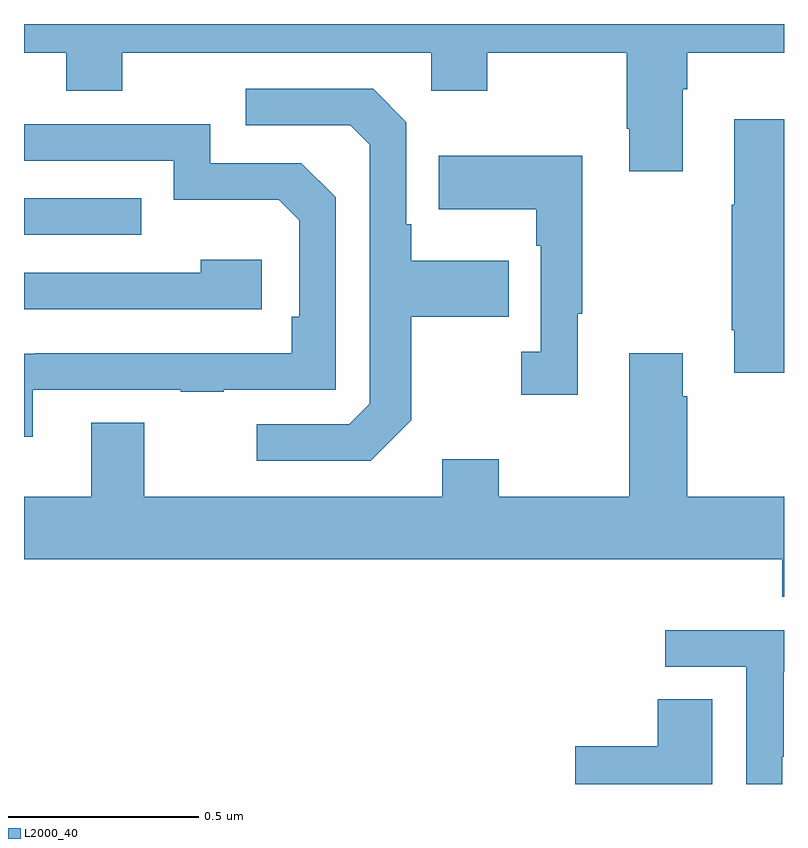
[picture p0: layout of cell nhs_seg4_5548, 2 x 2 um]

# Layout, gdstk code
import gdstk
lib = gdstk.Library(unit=1e-6, precision=1e-09)
def R(c, l, rs):  # rectangles x0, y0, x1, y1
    for r in rs: c.add(gdstk.rectangle(r[:2], r[2:], *l))
def P(c, l, *ps):  # polygons
    for p in ps: c.add(gdstk.Polygon(p, *l))
L2000_40 = (2000, 40)

nhs_seg4_5548 = lib.new_cell('nhs_seg4_5548')
R(nhs_seg4_5548, L2000_40, [(179,792.345,179.309,792.441)])
P(nhs_seg4_5548, L2000_40, [(179,792.824),(179.111,792.824),(179.111,792.725),(179.259,792.725),(179.259,792.824),(180.072,792.824),(180.072,792.725),(180.219,792.725),(180.219,792.824),(180.586,792.824),(180.586,792.625),(180.593,792.625),(180.593,792.513),(180.733,792.513),(180.733,792.728),(180.746,792.728),(180.746,792.824),(181,792.824),(181,792.9),(179,792.9)],
  [(180.019,791.857),(180.019,792.13),(180.275,792.13),(180.275,792.277),(180.019,792.277),(180.019,792.373),(180.006,792.373),(180.006,792.642),(179.919,792.729),(179.583,792.729),(179.583,792.633),(179.859,792.633),(179.91,792.582),(179.91,791.901),(179.856,791.847),(179.613,791.847),(179.613,791.751),(179.913,791.751)],
  [(181,792.649),(180.869,792.649),(180.869,792.425),(180.862,792.425),(180.862,792.094),(180.869,792.094),(180.869,791.982),(181,791.982)],
  [(179.023,791.937),(179.413,791.937),(179.413,791.932),(179.525,791.932),(179.525,791.937),(179.82,791.937),(179.82,792.444),(179.73,792.534),(179.49,792.534),(179.49,792.636),(179,792.636),(179,792.54),(179.394,792.54),(179.394,792.437),(179.671,792.437),(179.724,792.384),(179.724,792.13),(179.704,792.13),(179.704,792.033),(179.029,792.033),(179.029,792.032),(179,792.032),(179,791.814),(179.023,791.814)],
  [(180.457,792.137),(180.469,792.137),(180.469,792.553),(180.091,792.553),(180.091,792.413),(180.348,792.413),(180.348,792.317),(180.36,792.317),(180.36,792.038),(180.309,792.038),(180.309,791.925),(180.457,791.925)],
  [(179.626,792.28),(179.465,792.28),(179.465,792.246),(179,792.246),(179,792.15),(179.626,792.15)],
  [(181,791.656),(180.746,791.656),(180.746,791.921),(180.733,791.921),(180.733,792.034),(180.593,792.034),(180.593,791.656),(180.249,791.656),(180.249,791.755),(180.101,791.755),(180.101,791.656),(179.317,791.656),(179.317,791.851),(179.177,791.851),(179.177,791.656),(179,791.656),(179,791.492),(180.995,791.492),(180.995,791.393),(181,791.393)],
  [(180.996,790.972),(180.999,790.972),(180.999,791.196),(181,791.196),(181,791.304),(180.687,791.304),(180.687,791.208),(180.9,791.208),(180.9,790.9),(180.996,790.9)],
  [(180.811,791.123),(180.668,791.123),(180.668,791),(180.45,791),(180.45,790.9),(180.811,790.9)])

lib.write_gds('nhs_seg4_5548.gds')
